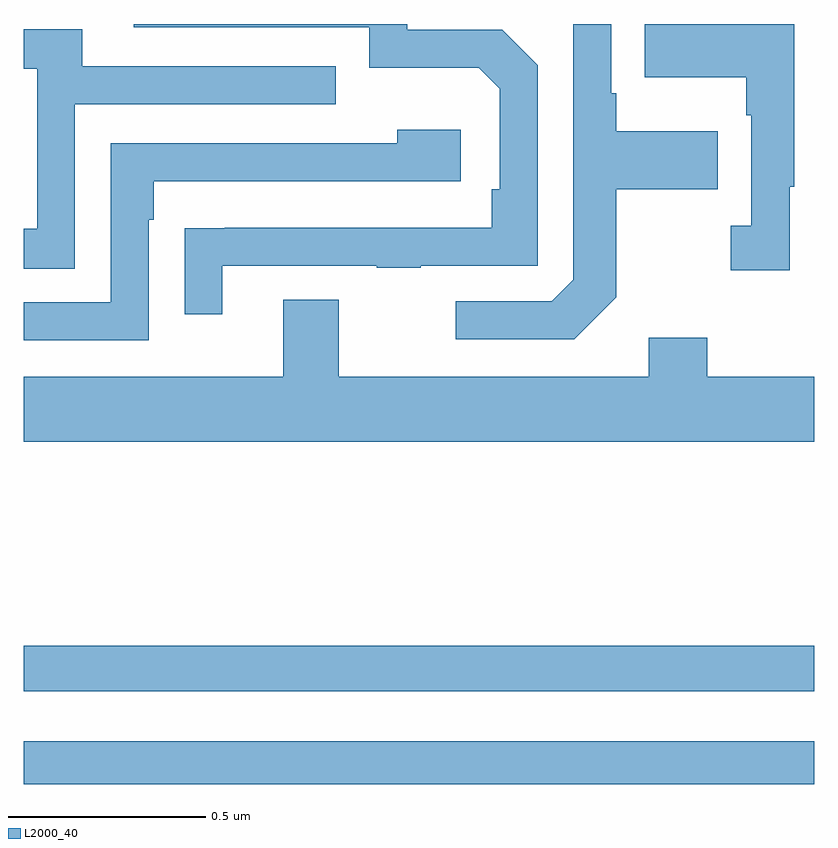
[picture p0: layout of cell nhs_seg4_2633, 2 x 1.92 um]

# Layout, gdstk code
import gdstk
lib = gdstk.Library(unit=1e-6, precision=1e-09)
def R(c, l, rs):  # rectangles x0, y0, x1, y1
    for r in rs: c.add(gdstk.rectangle(r[:2], r[2:], *l))
def P(c, l, *ps):  # polygons
    for p in ps: c.add(gdstk.Polygon(p, *l))
L2000_40 = (2000, 40)

nhs_seg4_2633 = lib.new_cell('nhs_seg4_2633')
R(nhs_seg4_2633, L2000_40, [(143,771.978,145,772.086), (143,772.212,145,772.328)])
P(nhs_seg4_2633, L2000_40, [(143.503,773.289),(143.893,773.289),(143.893,773.284),(144.005,773.284),(144.005,773.289),(144.3,773.289),(144.3,773.796),(144.21,773.886),(143.97,773.886),(143.97,773.9),(143.279,773.9),(143.279,773.892),(143.874,773.892),(143.874,773.789),(144.151,773.789),(144.204,773.736),(144.204,773.482),(144.184,773.482),(144.184,773.385),(143.509,773.385),(143.509,773.384),(143.407,773.384),(143.407,773.166),(143.503,773.166)],
  [(144.499,773.209),(144.499,773.482),(144.755,773.482),(144.755,773.629),(144.499,773.629),(144.499,773.725),(144.486,773.725),(144.486,773.9),(144.39,773.9),(144.39,773.253),(144.336,773.199),(144.093,773.199),(144.093,773.103),(144.393,773.103)],
  [(144.937,773.489),(144.949,773.489),(144.949,773.9),(144.571,773.9),(144.571,773.765),(144.828,773.765),(144.828,773.669),(144.84,773.669),(144.84,773.39),(144.789,773.39),(144.789,773.277),(144.937,773.277)],
  [(143.13,773.697),(143.789,773.697),(143.789,773.793),(143.149,773.793),(143.149,773.887),(143,773.887),(143,773.787),(143.034,773.787),(143.034,773.382),(143,773.382),(143,773.281),(143.13,773.281)],
  [(143.316,773.405),(143.329,773.405),(143.329,773.502),(144.106,773.502),(144.106,773.632),(143.945,773.632),(143.945,773.598),(143.22,773.598),(143.22,773.196),(143,773.196),(143,773.1),(143.316,773.1)],
  [(145,773.008),(144.729,773.008),(144.729,773.107),(144.581,773.107),(144.581,773.008),(143.797,773.008),(143.797,773.203),(143.657,773.203),(143.657,773.008),(143,773.008),(143,772.844),(145,772.844)])

lib.write_gds('nhs_seg4_2633.gds')
